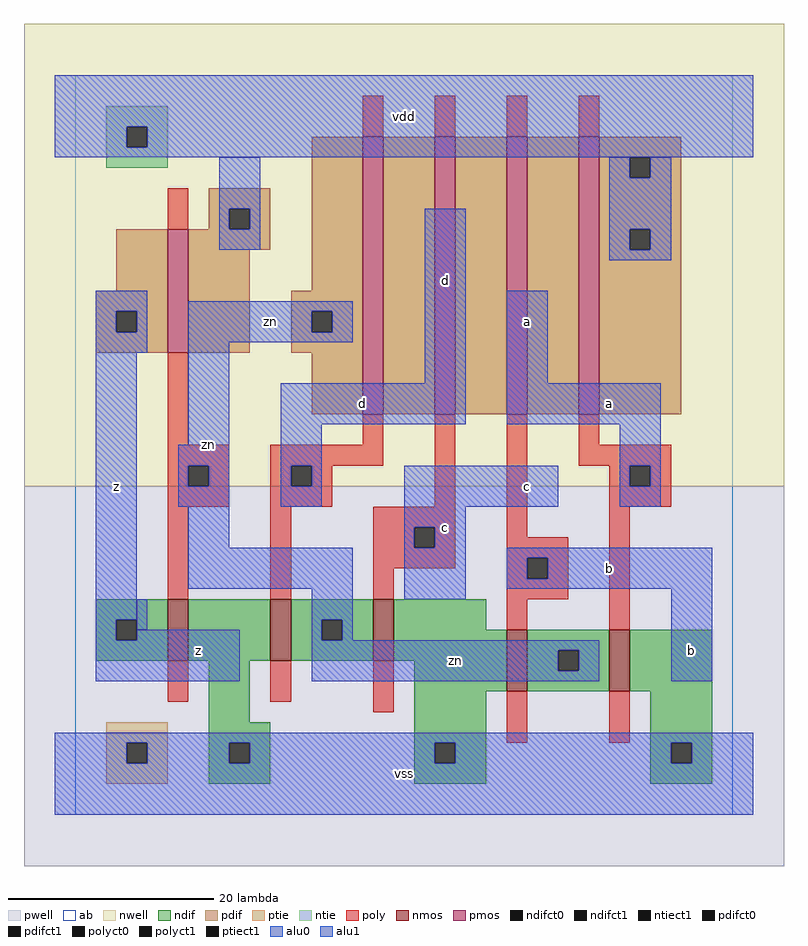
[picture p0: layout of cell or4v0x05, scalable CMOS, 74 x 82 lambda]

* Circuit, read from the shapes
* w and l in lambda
.subckt or4v0x05 a b c d vdd vss z zn
M1 vss zn z vss nfet w=6 l=2
M2 zn d vss vss nfet w=6 l=2
M3 vss c zn vss nfet w=6 l=2
M4 zn b vss vss nfet w=6 l=2
M5 vss a zn vss nfet w=6 l=2
M6 vdd zn z vdd pfet w=12 l=2
M7 n1 d zn vdd pfet w=27 l=2
M8 n2 c n1 vdd pfet w=27 l=2
M9 n3 b n2 vdd pfet w=27 l=2
M10 vdd a n3 vdd pfet w=27 l=2
.ends

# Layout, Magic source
magic
tech scmos
<< ab >>
rect 0 0 64 72
<< nwell >>
rect -5 32 69 77
<< pwell >>
rect -5 -5 69 32
<< poly >>
rect 28 66 30 70
rect 35 66 37 70
rect 42 66 44 70
rect 49 66 51 70
rect 9 57 11 61
rect 9 36 11 45
rect 28 36 30 39
rect 9 34 15 36
rect 9 32 11 34
rect 13 32 15 34
rect 9 30 15 32
rect 19 34 30 36
rect 19 32 21 34
rect 23 32 25 34
rect 19 30 25 32
rect 35 30 37 39
rect 9 21 11 30
rect 19 21 21 30
rect 29 28 37 30
rect 29 26 33 28
rect 35 26 37 28
rect 29 24 37 26
rect 42 27 44 39
rect 49 36 51 39
rect 49 34 58 36
rect 52 32 54 34
rect 56 32 58 34
rect 52 30 58 32
rect 42 25 48 27
rect 29 21 31 24
rect 42 23 44 25
rect 46 23 48 25
rect 42 21 48 23
rect 42 18 44 21
rect 52 18 54 30
rect 9 11 11 15
rect 19 11 21 15
rect 29 10 31 15
rect 42 7 44 12
rect 52 7 54 12
<< ndif >>
rect 2 19 9 21
rect 2 17 4 19
rect 6 17 9 19
rect 2 15 9 17
rect 11 15 19 21
rect 21 19 29 21
rect 21 17 24 19
rect 26 17 29 19
rect 21 15 29 17
rect 31 18 40 21
rect 31 15 42 18
rect 13 9 17 15
rect 33 12 42 15
rect 44 16 52 18
rect 44 14 47 16
rect 49 14 52 16
rect 44 12 52 14
rect 54 12 62 18
rect 13 7 19 9
rect 13 5 15 7
rect 17 5 19 7
rect 13 3 19 5
rect 33 7 40 12
rect 56 7 62 12
rect 33 5 35 7
rect 37 5 40 7
rect 33 3 40 5
rect 56 5 58 7
rect 60 5 62 7
rect 56 3 62 5
<< pdif >>
rect 13 59 19 61
rect 13 57 15 59
rect 17 57 19 59
rect 4 51 9 57
rect 2 49 9 51
rect 2 47 4 49
rect 6 47 9 49
rect 2 45 9 47
rect 11 55 19 57
rect 11 45 17 55
rect 23 51 28 66
rect 21 49 28 51
rect 21 47 23 49
rect 25 47 28 49
rect 21 45 28 47
rect 23 39 28 45
rect 30 39 35 66
rect 37 39 42 66
rect 44 39 49 66
rect 51 64 59 66
rect 51 62 54 64
rect 56 62 59 64
rect 51 57 59 62
rect 51 55 54 57
rect 56 55 59 57
rect 51 39 59 55
<< alu1 >>
rect -2 67 66 72
rect -2 65 5 67
rect 7 65 66 67
rect -2 64 66 65
rect 2 49 7 51
rect 2 47 4 49
rect 6 47 7 49
rect 2 45 7 47
rect 2 19 6 45
rect 34 42 38 59
rect 20 38 38 42
rect 42 42 46 51
rect 42 38 57 42
rect 20 34 24 38
rect 53 34 57 38
rect 20 32 21 34
rect 23 32 24 34
rect 20 30 24 32
rect 32 30 47 34
rect 53 32 54 34
rect 56 32 57 34
rect 53 30 57 32
rect 32 28 38 30
rect 32 26 33 28
rect 35 26 38 28
rect 2 17 4 19
rect 32 21 38 26
rect 42 25 62 26
rect 42 23 44 25
rect 46 23 62 25
rect 42 22 62 23
rect 6 17 16 18
rect 2 13 16 17
rect 58 13 62 22
rect -2 7 66 8
rect -2 5 5 7
rect 7 5 15 7
rect 17 5 35 7
rect 37 5 58 7
rect 60 5 66 7
rect -2 0 66 5
<< ptie >>
rect 3 7 9 9
rect 3 5 5 7
rect 7 5 9 7
rect 3 3 9 5
<< ntie >>
rect 3 67 9 69
rect 3 65 5 67
rect 7 65 9 67
rect 3 63 9 65
<< nmos >>
rect 9 15 11 21
rect 19 15 21 21
rect 29 15 31 21
rect 42 12 44 18
rect 52 12 54 18
<< pmos >>
rect 9 45 11 57
rect 28 39 30 66
rect 35 39 37 66
rect 42 39 44 66
rect 49 39 51 66
<< polyct0 >>
rect 11 32 13 34
<< polyct1 >>
rect 21 32 23 34
rect 33 26 35 28
rect 54 32 56 34
rect 44 23 46 25
<< ndifct0 >>
rect 24 17 26 19
rect 47 14 49 16
<< ndifct1 >>
rect 4 17 6 19
rect 15 5 17 7
rect 35 5 37 7
rect 58 5 60 7
<< ntiect1 >>
rect 5 65 7 67
<< ptiect1 >>
rect 5 5 7 7
<< pdifct0 >>
rect 15 57 17 59
rect 23 47 25 49
rect 54 62 56 64
rect 54 55 56 57
<< pdifct1 >>
rect 4 47 6 49
<< alu0 >>
rect 14 59 18 64
rect 52 62 54 64
rect 56 62 58 64
rect 14 57 15 59
rect 17 57 18 59
rect 14 55 18 57
rect 11 49 27 50
rect 11 47 23 49
rect 25 47 27 49
rect 11 46 27 47
rect 11 36 15 46
rect 52 57 58 62
rect 52 55 54 57
rect 56 55 58 57
rect 52 54 58 55
rect 10 34 15 36
rect 10 32 11 34
rect 13 32 15 34
rect 10 30 15 32
rect 11 26 15 30
rect 11 22 27 26
rect 6 18 7 21
rect 23 19 27 22
rect 23 17 24 19
rect 26 17 27 19
rect 23 16 51 17
rect 23 14 47 16
rect 49 14 51 16
rect 23 13 51 14
<< labels >>
rlabel alu0 13 36 13 36 6 zn
rlabel alu0 19 48 19 48 6 zn
rlabel alu0 37 15 37 15 6 zn
rlabel alu1 12 16 12 16 6 z
rlabel alu1 4 32 4 32 6 z
rlabel alu1 28 40 28 40 6 d
rlabel alu1 32 4 32 4 6 vss
rlabel alu1 36 28 36 28 6 c
rlabel alu1 44 32 44 32 6 c
rlabel alu1 36 52 36 52 6 d
rlabel alu1 44 48 44 48 6 a
rlabel alu1 32 68 32 68 6 vdd
rlabel alu1 60 16 60 16 6 b
rlabel alu1 52 24 52 24 6 b
rlabel alu1 52 40 52 40 6 a
<< end >>
